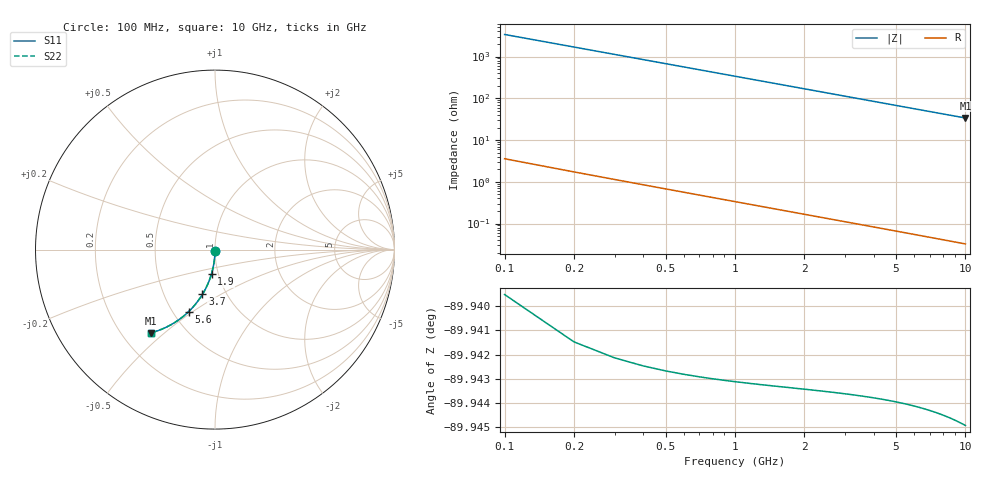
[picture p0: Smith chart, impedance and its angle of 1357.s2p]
# Hz S RI R 50.00
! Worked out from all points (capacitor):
!   100 points, 100 MHz to 10 GHz, reference 50 ohm
!   read as one part in shunt: C = 470 fF near 100 MHz
!   lowest |Z| = 33.9 ohm at 10 GHz (marker M1)
!   S11 on the Smith chart (normalised r, x): 100 MHz: 1.00, -0.01; 1.9 GHz: 0.93, -0.26; 3.7 GHz: 0.77, -0.41; 5.6 GHz: 0.60, -0.48; 10 GHz: 0.32, -0.45
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1e8  -2.36e-05 -0.00724  0.9999 -0.00753  0.9999 -0.00753  -2.36e-05 -0.00724
2e8  -0.000194 -0.0145  0.9997 -0.0151  0.9997 -0.0151  -0.000194 -0.0145
3e8  -0.000474 -0.0217  0.9994 -0.0226  0.9994 -0.0226  -0.000474 -0.0217
4e8  -0.000863 -0.029  0.9991 -0.0301  0.9991 -0.0301  -0.000863 -0.029
5e8  -0.00136 -0.0362  0.9986 -0.0376  0.9986 -0.0376  -0.00136 -0.0362
6e8  -0.00197 -0.0434  0.998 -0.0451  0.998 -0.0451  -0.00197 -0.0434
8e8  -0.0035 -0.0578  0.9964 -0.0601  0.9964 -0.0601  -0.0035 -0.0578
9e8  -0.00443 -0.0649  0.9955 -0.0675  0.9955 -0.0675  -0.00443 -0.0649
1.1e9  -0.0066 -0.0792  0.9933 -0.0824  0.9933 -0.0824  -0.0066 -0.0792
1.4e9  -0.0107 -0.1004  0.9893 -0.1044  0.9893 -0.1044  -0.0107 -0.1004
1.8e9  -0.0175 -0.1282  0.9824 -0.1334  0.9824 -0.1334  -0.0175 -0.1282
1.9e9  -0.0195 -0.135  0.9805 -0.1405  0.9805 -0.1405  -0.0195 -0.135
2.2e9  -0.0259 -0.1553  0.974 -0.1617  0.974 -0.1617  -0.0259 -0.1553
2.6e9  -0.0358 -0.1817  0.9641 -0.1893  0.9641 -0.1893  -0.0358 -0.1817
3.4e9  -0.0598 -0.2318  0.9401 -0.2417  0.9401 -0.2417  -0.0598 -0.2318
3.7e9  -0.0701 -0.2495  0.9298 -0.2603  0.9298 -0.2603  -0.0701 -0.2495
4.4e9  -0.0964 -0.2883  0.9034 -0.3012  0.9034 -0.3012  -0.0964 -0.2883
5.1e9  -0.1255 -0.3234  0.8743 -0.3383  0.8743 -0.3383  -0.1255 -0.3234
5.6e9  -0.1476 -0.3461  0.8522 -0.3625  0.8522 -0.3625  -0.1476 -0.3461
6.7e9  -0.199 -0.389  0.8007 -0.4087  0.8007 -0.4087  -0.199 -0.389
8.4e9  -0.2815 -0.4369  0.7181 -0.4618  0.7181 -0.4618  -0.2815 -0.4369
1e10  -0.3578 -0.464  0.6417 -0.4939  0.6417 -0.4939  -0.3578 -0.464
